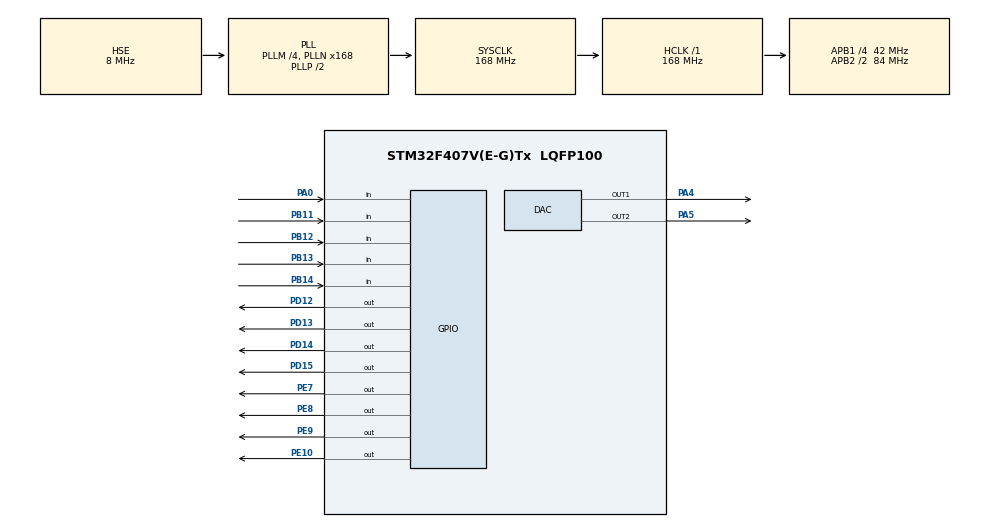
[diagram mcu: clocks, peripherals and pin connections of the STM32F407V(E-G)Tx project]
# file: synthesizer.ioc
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DAC.DAC_Trigger=DAC_TRIGGER_T6_TRGO
DAC.DAC_Trigger2=DAC_TRIGGER_T7_TRGO
Dma.DAC1.0.Direction=DMA_MEMORY_TO_PERIPH
Dma.DAC1.0.FIFOMode=DMA_FIFOMODE_ENABLE
Dma.DAC1.0.FIFOThreshold=DMA_FIFO_THRESHOLD_FULL
Dma.DAC1.0.Instance=DMA1_Stream5
Dma.DAC1.0.MemBurst=DMA_MBURST_SINGLE
Dma.DAC1.0.MemDataAlignment=DMA_MDATAALIGN_WORD
Dma.DAC1.0.MemInc=DMA_MINC_ENABLE
Dma.DAC1.0.Mode=DMA_CIRCULAR
Dma.DAC1.0.PeriphBurst=DMA_PBURST_SINGLE
Dma.DAC1.0.PeriphDataAlignment=DMA_PDATAALIGN_WORD
Dma.DAC1.0.PeriphInc=DMA_PINC_DISABLE
Dma.DAC1.0.Priority=DMA_PRIORITY_LOW
Dma.DAC2.1.Direction=DMA_MEMORY_TO_PERIPH
Dma.DAC2.1.FIFOMode=DMA_FIFOMODE_ENABLE
Dma.DAC2.1.FIFOThreshold=DMA_FIFO_THRESHOLD_FULL
Dma.DAC2.1.Instance=DMA1_Stream6
Dma.DAC2.1.MemBurst=DMA_MBURST_SINGLE
Dma.DAC2.1.MemDataAlignment=DMA_MDATAALIGN_WORD
Dma.DAC2.1.MemInc=DMA_MINC_ENABLE
Dma.DAC2.1.Mode=DMA_CIRCULAR
Dma.DAC2.1.PeriphBurst=DMA_PBURST_SINGLE
Dma.DAC2.1.PeriphDataAlignment=DMA_PDATAALIGN_WORD
Dma.DAC2.1.PeriphInc=DMA_PINC_DISABLE
Dma.DAC2.1.Priority=DMA_PRIORITY_LOW
Dma.Request0=DAC1
Dma.Request1=DAC2
Mcu.Family=STM32F4
Mcu.Name=STM32F407V(E-G)Tx
Mcu.Package=LQFP100
NVIC.DMA1_Stream5_IRQn=true\:0\:0\:false\:false\:true\:false\:true
NVIC.DMA1_Stream6_IRQn=true\:0\:0\:false\:false\:true\:false\:true
NVIC.PriorityGroup=NVIC_PRIORITYGROUP_4
NVIC.TIM4_IRQn=true\:0\:0\:false\:false\:true\:true\:true
NVIC.TIM6_DAC_IRQn=true\:0\:0\:false\:false\:true\:true\:true
NVIC.TIM7_IRQn=true\:0\:0\:false\:false\:true\:true\:true
PA0-WKUP.Signal=GPIO_Input
PA4.Signal=COMP_DAC1_group
PA5.Signal=COMP_DAC2_group
PB11.GPIO_PuPd=GPIO_PULLUP
PB11.Signal=GPIO_Input
PB12.GPIO_PuPd=GPIO_PULLUP
PB12.Signal=GPIO_Input
PB13.GPIO_PuPd=GPIO_PULLUP
PB13.Signal=GPIO_Input
PB14.GPIO_PuPd=GPIO_PULLUP
PB14.Signal=GPIO_Input
PD12.GPIO_PuPd=GPIO_PULLDOWN
PD12.Signal=GPIO_Output
PD13.GPIO_PuPd=GPIO_PULLDOWN
PD13.Signal=GPIO_Output
PD14.GPIO_PuPd=GPIO_PULLDOWN
PD14.Signal=GPIO_Output
PD15.GPIO_PuPd=GPIO_PULLDOWN
PD15.Signal=GPIO_Output
PE10.GPIO_PuPd=GPIO_PULLDOWN
PE10.PinState=GPIO_PIN_SET
PE10.Signal=GPIO_Output
PE7.GPIO_PuPd=GPIO_PULLDOWN
PE7.PinState=GPIO_PIN_SET
PE7.Signal=GPIO_Output
PE8.GPIO_PuPd=GPIO_PULLDOWN
PE8.PinState=GPIO_PIN_SET
PE8.Signal=GPIO_Output
PE9.GPIO_PuPd=GPIO_PULLDOWN
PE9.PinState=GPIO_PIN_SET
PE9.Signal=GPIO_Output
PH0-OSC_IN.Mode=HSE-External-Oscillator
PH0-OSC_IN.Signal=RCC_OSC_IN
PH1-OSC_OUT.Mode=HSE-External-Oscillator
PH1-OSC_OUT.Signal=RCC_OSC_OUT
ProjectManager.HeapSize=0x200
ProjectManager.StackSize=0x400
ProjectManager.TargetToolchain=STM32CubeIDE
RCC.48MHZClocksFreq_Value=84000000
RCC.AHBFreq_Value=168000000
RCC.APB1CLKDivider=RCC_HCLK_DIV4
RCC.APB1Freq_Value=42000000
RCC.APB1TimFreq_Value=84000000
RCC.APB2CLKDivider=RCC_HCLK_DIV2
RCC.APB2Freq_Value=84000000
RCC.APB2TimFreq_Value=168000000
RCC.CortexFreq_Value=168000000
RCC.HCLKFreq_Value=168000000
RCC.HSE_VALUE=8000000
RCC.HSI_VALUE=16000000
RCC.LSE_VALUE=32768
RCC.PLLM=4
RCC.PLLN=168
RCC.PLLSourceVirtual=RCC_PLLSOURCE_HSE
RCC.SYSCLKFreq_VALUE=168000000
RCC.SYSCLKSource=RCC_SYSCLKSOURCE_PLLCLK
RCC.VCOOutputFreq_Value=336000000
SH.COMP_DAC1_group.0=DAC_OUT1,DAC_OUT1
SH.COMP_DAC2_group.0=DAC_OUT2,DAC_OUT2
TIM4.Period=11999
TIM4.Prescaler=6999
TIM6.TIM_MasterOutputTrigger=TIM_TRGO_UPDATE
TIM7.TIM_MasterOutputTrigger=TIM_TRGO_UPDATE
VP_TIM4_VS_ClockSourceINT.Mode=Internal
VP_TIM6_VS_ClockSourceINT.Mode=Enable_Timer
VP_TIM7_VS_ClockSourceINT.Mode=Enable_Timer
board=custom

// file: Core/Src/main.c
/* USER CODE BEGIN Header */
/**
  ******************************************************************************
  * @file           : main.c
  * @brief          : Main program body
  ******************************************************************************
  * @attention
  *
  * <h2><center>&copy; Copyright (c) 2020 STMicroelectronics.
  * All rights reserved.</center></h2>
  *
  * This software component is licensed by ST under BSD 3-Clause license,
  * the "License"; You may not use this file except in compliance with the
  * License. You may obtain a copy of the License at:
  *                        opensource.org/licenses/BSD-3-Clause
  *
  ******************************************************************************
  */
/* USER CODE END Header */

#include "main.h"

/* USER CODE BEGIN Includes */
#include <string.h>
#include <stdio.h>
#include "notes.h"
#include "math.h"
/* USER CODE END Includes */

/* USER CODE BEGIN PD */
#define PI 3.1416f
#define SAMPLING_RATE 200
/* USER CODE END PD */

DAC_HandleTypeDef hdac;
DMA_HandleTypeDef hdma_dac1;
DMA_HandleTypeDef hdma_dac2;

TIM_HandleTypeDef htim4;
TIM_HandleTypeDef htim6;
TIM_HandleTypeDef htim7;

/* USER CODE BEGIN PV */
volatile int tempo = 115;
volatile char *sequence[8] = {"C4 ", "D4 ", "E4 ", "F4 ", "G4 ", "A4 ", "B4 ", "C5 "};
int sequence_iterator = 0;
volatile int delay = 100;
int chosen_wave = 0;
int octave = 4;
int next_octave;
char active_note[3];
char note[2];
char octave_str[1];
char next_octave_str[1];
/* USER CODE END PV */

void SystemClock_Config(void);
static void MX_GPIO_Init(void);
static void MX_DMA_Init(void);
static void MX_DAC_Init(void);
static void MX_TIM6_Init(void);
static void MX_TIM7_Init(void);
static void MX_TIM4_Init(void);

/* USER CODE BEGIN 0 */

void HAL_TIM_PeriodElapsedCallback(TIM_HandleTypeDef* htim){
	if(htim->Instance == TIM4){
//		HAL_GPIO_TogglePin(GPIOD, GPIO_PIN_14);
//		setNote(sequence[sequence_iterator], &htim7);
//		sequence_iterator++;
//		if(sequence_iterator == 8) sequence_iterator = 0;
	}
}

uint32_t sine_val[SAMPLING_RATE];
uint32_t saw_val[SAMPLING_RATE];
uint32_t quad_val[SAMPLING_RATE];

float map(float v, float is, float ie, float os, float oe){
	return os + (oe - os) * ((v - is)/(ie - is));
}

void get_sineval(){
	for(int i = 0; i < SAMPLING_RATE; i++){
		sine_val[i] = ((sin(i*2*PI/SAMPLING_RATE) + 1)*(4096/2));
	}
}

void get_sawval(){
	for(int i = 0; i < SAMPLING_RATE; i++){
		saw_val[i] = map(i, 0, 100, 0, 2)*(4096/2);
	}
}

void get_quadval(){
	for(int i = 0; i < 50; i++){
		quad_val[i] = 4095;
	}
	for(int i = 50; i < 100; i++){
		quad_val[i] = 0;
	}
}

/* USER CODE END 0 */

int main(void)
{
  /* USER CODE BEGIN 1 */
	next_octave = octave + 1;
	sprintf(octave_str, "%d", octave);
	sprintf(next_octave_str, "%d", next_octave);
  /* USER CODE END 1 */

  /* MCU Configuration--------------------------------------------------------*/

  /* Reset of all peripherals, Initializes the Flash interface and the Systick. */
  HAL_Init();

  /* Configure the system clock */
  SystemClock_Config();

  /* Initialize all configured peripherals */
  MX_GPIO_Init();
  MX_DMA_Init();
  MX_DAC_Init();
  MX_TIM6_Init();
  MX_TIM7_Init();
  MX_TIM4_Init();
  /* USER CODE BEGIN 2 */
  HAL_TIM_Base_Start_IT(&htim6);
  HAL_TIM_Base_Start_IT(&htim7);
  HAL_TIM_Base_Start_IT(&htim4);
  get_sineval();
  get_sawval();
  get_quadval();
  HAL_DAC_Start_DMA(&hdac, DAC1_CHANNEL_1, saw_val, SAMPLING_RATE, DAC_ALIGN_12B_R);
  HAL_DAC_Start_DMA(&hdac, DAC1_CHANNEL_2, quad_val, SAMPLING_RATE, DAC_ALIGN_12B_R);
  /* USER CODE END 2 */

  /* Infinite loop */
  while (1)
  {

    /* USER CODE BEGIN 3 */
	  HAL_GPIO_WritePin(GPIOE, GPIO_PIN_7, GPIO_PIN_RESET);
	  HAL_GPIO_WritePin(GPIOE, GPIO_PIN_8, GPIO_PIN_SET);
	  HAL_GPIO_WritePin(GPIOE, GPIO_PIN_9, GPIO_PIN_SET);
	  HAL_GPIO_WritePin(GPIOE, GPIO_PIN_10, GPIO_PIN_SET);
	  if (!(HAL_GPIO_ReadPin(GPIOB, GPIO_PIN_11))){
		HAL_Delay(delay);
		if(!(HAL_GPIO_ReadPin (GPIOB, GPIO_PIN_11))){
			HAL_GPIO_TogglePin(GPIOD, GPIO_PIN_15);
			strcpy(active_note, "");
			strcat(active_note, "C");
			strcat(active_note, octave_str);
			strcat(active_note, " ");
			setNote(active_note, &htim6);
		}
	  }

	  if (!(HAL_GPIO_ReadPin(GPIOB, GPIO_PIN_12))){
		HAL_Delay(delay);
		if(!(HAL_GPIO_ReadPin (GPIOB, GPIO_PIN_12))){
			HAL_GPIO_TogglePin(GPIOD, GPIO_PIN_15);
			strcpy(active_note, "");
			strcat(active_note, "CS");
			strcat(active_note, octave_str);
			setNote(active_note, &htim6);
		}
	  }

	  if (!(HAL_GPIO_ReadPin(GPIOB, GPIO_PIN_13))){
		HAL_Delay(delay);
		if(!(HAL_GPIO_ReadPin(GPIOB, GPIO_PIN_13))){
			HAL_GPIO_TogglePin(GPIOD, GPIO_PIN_15);
			strcpy(active_note, "");
			strcat(active_note, "D");
			strcat(active_note, octave_str);
			strcat(active_note, " ");
			setNote(active_note, &htim6);
		}
	  }

	  if (!(HAL_GPIO_ReadPin(GPIOB, GPIO_PIN_14))){
		HAL_Delay(delay);
		if(!(HAL_GPIO_ReadPin(GPIOB, GPIO_PIN_14))){
			HAL_GPIO_TogglePin(GPIOD, GPIO_PIN_15);
			strcpy(active_note, "");
			strcat(active_note, "DS");
			strcat(active_note, octave_str);
			setNote(active_note, &htim6);
		}
	  }
	  HAL_GPIO_WritePin(GPIOE, GPIO_PIN_7, GPIO_PIN_SET);
	  HAL_GPIO_WritePin(GPIOE, GPIO_PIN_8, GPIO_PIN_RESET);
	  HAL_GPIO_WritePin(GPIOE, GPIO_PIN_9, GPIO_PIN_SET);
	  HAL_GPIO_WritePin(GPIOE, GPIO_PIN_10, GPIO_PIN_SET);
	  if (!(HAL_GPIO_ReadPin(GPIOB, GPIO_PIN_11))){
		HAL_Delay(delay);
		if(!(HAL_GPIO_ReadPin(GPIOB, GPIO_PIN_11))){
			HAL_GPIO_TogglePin(GPIOD, GPIO_PIN_15);
			strcpy(active_note, "");
			strcat(active_note, "E");
			strcat(active_note, octave_str);
			strcat(active_note, " ");
			setNote(active_note, &htim6);
		}
	  }

	  if (!(HAL_GPIO_ReadPin(GPIOB, GPIO_PIN_12))){
		HAL_Delay(delay);
		if(!(HAL_GPIO_ReadPin(GPIOB, GPIO_PIN_12))){
			HAL_GPIO_TogglePin(GPIOD, GPIO_PIN_15);
			strcpy(active_note, "");
			strcat(active_note, "F");
			strcat(active_note, octave_str);
			strcat(active_note, " ");
			setNote(active_note, &htim6);
		}
	  }

	  if (!(HAL_GPIO_ReadPin(GPIOB, GPIO_PIN_13))){
		HAL_Delay(delay);
		if(!(HAL_GPIO_ReadPin(GPIOB, GPIO_PIN_13))){
			HAL_GPIO_TogglePin(GPIOD, GPIO_PIN_15);
			strcpy(active_note, "");
			strcat(active_note, "FS");
			strcat(active_note, octave_str);
			setNote(active_note, &htim6);
		}
	  }

	  if (!(HAL_GPIO_ReadPin(GPIOB, GPIO_PIN_14))){
		HAL_Delay(delay);
		if(!(HAL_GPIO_ReadPin(GPIOB, GPIO_PIN_14))){
			HAL_GPIO_TogglePin(GPIOD, GPIO_PIN_15);
			strcpy(active_note, "");
			strcat(active_note, "G");
			strcat(active_note, octave_str);
			strcat(active_note, " ");
			setNote(active_note, &htim6);
		}
	  }
	  HAL_GPIO_WritePin(GPIOE, GPIO_PIN_7, GPIO_PIN_SET);
	  HAL_GPIO_WritePin(GPIOE, GPIO_PIN_8, GPIO_PIN_SET);
	  HAL_GPIO_WritePin(GPIOE, GPIO_PIN_9, GPIO_PIN_RESET);
	  HAL_GPIO_WritePin(GPIOE, GPIO_PIN_10, GPIO_PIN_SET);
	  if (!(HAL_GPIO_ReadPin(GPIOB, GPIO_PIN_11))){
		HAL_Delay(delay);
		if(!(HAL_GPIO_ReadPin(GPIOB, GPIO_PIN_11))){
			HAL_GPIO_TogglePin(GPIOD, GPIO_PIN_15);
			strcpy(active_note, "");
			strcat(active_note, "GS");
			strcat(active_note, octave_str);
			setNote(active_note, &htim6);
		}
	  }

	  if (!(HAL_GPIO_ReadPin(GPIOB, GPIO_PIN_12))){
		HAL_Delay(delay);
		if(!(HAL_GPIO_ReadPin(GPIOB, GPIO_PIN_12))){
			HAL_GPIO_TogglePin(GPIOD, GPIO_PIN_15);
			strcpy(active_note, "");
			strcat(active_note, "A");
			strcat(active_note, octave_str);
			strcat(active_note, " ");
			setNote(active_note, &htim6);
		}
	  }

	  if (!(HAL_GPIO_ReadPin(GPIOB, GPIO_PIN_13))){
		HAL_Delay(delay);
		if(!(HAL_GPIO_ReadPin(GPIOB, GPIO_PIN_13))){
			HAL_GPIO_TogglePin(GPIOD, GPIO_PIN_15);
			strcpy(active_note, "");
			strcat(active_note, "AS");
			strcat(active_note, octave_str);
		  	setNote(active_note, &htim6);
		}
	  }

	  if (!(HAL_GPIO_ReadPin(GPIOB, GPIO_PIN_14))){
		HAL_Delay(delay);
		if(!(HAL_GPIO_ReadPin(GPIOB, GPIO_PIN_14))){
		HAL_GPIO_TogglePin(GPIOD, GPIO_PIN_15);
			strcpy(active_note, "");
			strcat(active_note, "B");
			strcat(active_note, octave_str);
			strcat(active_note, " ");
			setNote(active_note, &htim6);
		}
	  }
	  HAL_GPIO_WritePin(GPIOE, GPIO_PIN_7, GPIO_PIN_SET);
	  HAL_GPIO_WritePin(GPIOE, GPIO_PIN_8, GPIO_PIN_SET);
	  HAL_GPIO_WritePin(GPIOE, GPIO_PIN_9, GPIO_PIN_SET);
	  HAL_GPIO_WritePin(GPIOE, GPIO_PIN_10, GPIO_PIN_RESET);
	  if (!(HAL_GPIO_ReadPin(GPIOB, GPIO_PIN_11))){
		HAL_Delay(delay);
		if(!(HAL_GPIO_ReadPin(GPIOB, GPIO_PIN_11))){
			strcpy(active_note, "");
			strcat(active_note, "C");
			strcat(active_note, next_octave_str);
			strcat(active_note, " ");
		  	setNote(active_note, &htim6);
		}
	  }

	  if (!(HAL_GPIO_ReadPin(GPIOB, GPIO_PIN_12))){
		HAL_Delay(delay);
		if(!(HAL_GPIO_ReadPin(GPIOB, GPIO_PIN_12))){
			HAL_GPIO_TogglePin(GPIOD, GPIO_PIN_12);
			if(chosen_wave == 0){
				HAL_DAC_Stop_DMA(&hdac, DAC_CHANNEL_1);
				HAL_DAC_Start_DMA(&hdac, DAC_CHANNEL_1, sine_val, SAMPLING_RATE, DAC_ALIGN_12B_R);
				chosen_wave += 1;
			}else if(chosen_wave == 1){
				HAL_DAC_Stop_DMA(&hdac, DAC_CHANNEL_1);
				HAL_DAC_Start_DMA(&hdac, DAC_CHANNEL_1, saw_val, SAMPLING_RATE, DAC_ALIGN_12B_R);
				chosen_wave += 1;
			}else if(chosen_wave == 2){
				HAL_DAC_Stop_DMA(&hdac, DAC_CHANNEL_1);
				HAL_DAC_Start_DMA(&hdac, DAC_CHANNEL_1, quad_val, SAMPLING_RATE, DAC_ALIGN_12B_R);
				chosen_wave = 0;
			}
		}
	  }

	  if (!(HAL_GPIO_ReadPin(GPIOB, GPIO_PIN_13))){
		HAL_Delay(delay);
		if(!(HAL_GPIO_ReadPin(GPIOB, GPIO_PIN_13))){
			if(octave > 2){
				octave -= 1;
				next_octave = octave + 1;
				sprintf(octave_str, "%d", octave);
				sprintf(next_octave_str, "%d", next_octave);
				if(active_note[1] == 'S'){
					active_note[2] = octave_str;
				}else{
					if(active_note[0] == 'C'){
						if(active_note[1] != next_octave_str){
							active_note[1] = next_octave_str;
						}else{
							active_note[1] = octave_str;
						}
					}else{
						active_note[1] = octave_str;
					}
				}
				setNote(active_note, &htim6);
			}
		}
	  }

	  if (!(HAL_GPIO_ReadPin(GPIOB, GPIO_PIN_14))){
		HAL_Delay(delay);
	  	if(!(HAL_GPIO_ReadPin(GPIOB, GPIO_PIN_14))){
			HAL_GPIO_TogglePin(GPIOD, GPIO_PIN_14);
			if(octave < 6){
				octave += 1;
				next_octave = octave + 1;
				sprintf(octave_str, "%d", octave);
				sprintf(next_octave_str, "%d", next_octave);
				if(active_note[1] == 'S'){
					active_note[2] = octave_str;
				}else{
					if(active_note[0] == 'C'){
						if(active_note[1] != next_octave_str){
							active_note[1] = next_octave_str;
						}else{
							active_note[1] = octave_str;
						}
					}else{
						active_note[1] = octave_str;
					}
				}
				setNote(active_note, &htim6);
			}
	  	}
	  }
  }
  /* USER CODE END 3 */
}

void SystemClock_Config(void)
{
  RCC_OscInitTypeDef RCC_OscInitStruct = {0};
  RCC_ClkInitTypeDef RCC_ClkInitStruct = {0};

  /** Configure the main internal regulator output voltage
  */
  __HAL_RCC_PWR_CLK_ENABLE();
  __HAL_PWR_VOLTAGESCALING_CONFIG(PWR_REGULATOR_VOLTAGE_SCALE1);
  /** Initializes the CPU, AHB and APB busses clocks
  */
  RCC_OscInitStruct.OscillatorType = RCC_OSCILLATORTYPE_HSE;
  RCC_OscInitStruct.HSEState = RCC_HSE_ON;
  RCC_OscInitStruct.PLL.PLLState = RCC_PLL_ON;
  RCC_OscInitStruct.PLL.PLLSource = RCC_PLLSOURCE_HSE;
  RCC_OscInitStruct.PLL.PLLM = 4;
  RCC_OscInitStruct.PLL.PLLN = 168;
  RCC_OscInitStruct.PLL.PLLP = RCC_PLLP_DIV2;
  RCC_OscInitStruct.PLL.PLLQ = 4;
  if (HAL_RCC_OscConfig(&RCC_OscInitStruct) != HAL_OK)
  {
    Error_Handler();
  }
  /** Initializes the CPU, AHB and APB busses clocks
  */
  RCC_ClkInitStruct.ClockType = RCC_CLOCKTYPE_HCLK|RCC_CLOCKTYPE_SYSCLK
                              |RCC_CLOCKTYPE_PCLK1|RCC_CLOCKTYPE_PCLK2;
  RCC_ClkInitStruct.SYSCLKSource = RCC_SYSCLKSOURCE_PLLCLK;
  RCC_ClkInitStruct.AHBCLKDivider = RCC_SYSCLK_DIV1;
  RCC_ClkInitStruct.APB1CLKDivider = RCC_HCLK_DIV4;
  RCC_ClkInitStruct.APB2CLKDivider = RCC_HCLK_DIV2;

  if (HAL_RCC_ClockConfig(&RCC_ClkInitStruct, FLASH_LATENCY_5) != HAL_OK)
  {
    Error_Handler();
  }
}

static void MX_DAC_Init(void)
{

  DAC_ChannelConfTypeDef sConfig = {0};

  /** DAC Initialization
  */
  hdac.Instance = DAC;
  if (HAL_DAC_Init(&hdac) != HAL_OK)
  {
    Error_Handler();
  }
  /** DAC channel OUT1 config
  */
  sConfig.DAC_Trigger = DAC_TRIGGER_T6_TRGO;
  sConfig.DAC_OutputBuffer = DAC_OUTPUTBUFFER_ENABLE;
  if (HAL_DAC_ConfigChannel(&hdac, &sConfig, DAC_CHANNEL_1) != HAL_OK)
  {
    Error_Handler();
  }
  /** DAC channel OUT2 config
  */
  sConfig.DAC_Trigger = DAC_TRIGGER_T7_TRGO;
  if (HAL_DAC_ConfigChannel(&hdac, &sConfig, DAC_CHANNEL_2) != HAL_OK)
  {
    Error_Handler();
  }

}

static void MX_TIM4_Init(void)
{

  TIM_ClockConfigTypeDef sClockSourceConfig = {0};
  TIM_MasterConfigTypeDef sMasterConfig = {0};

  htim4.Instance = TIM4;
  htim4.Init.Prescaler = 6999;
  htim4.Init.CounterMode = TIM_COUNTERMODE_UP;
  htim4.Init.Period = 11999;
  htim4.Init.ClockDivision = TIM_CLOCKDIVISION_DIV1;
  htim4.Init.AutoReloadPreload = TIM_AUTORELOAD_PRELOAD_DISABLE;
  if (HAL_TIM_Base_Init(&htim4) != HAL_OK)
  {
    Error_Handler();
  }
  sClockSourceConfig.ClockSource = TIM_CLOCKSOURCE_INTERNAL;
  if (HAL_TIM_ConfigClockSource(&htim4, &sClockSourceConfig) != HAL_OK)
  {
    Error_Handler();
  }
  sMasterConfig.MasterOutputTrigger = TIM_TRGO_RESET;
  sMasterConfig.MasterSlaveMode = TIM_MASTERSLAVEMODE_DISABLE;
  if (HAL_TIMEx_MasterConfigSynchronization(&htim4, &sMasterConfig) != HAL_OK)
  {
    Error_Handler();
  }

}

static void MX_TIM6_Init(void)
{

  TIM_MasterConfigTypeDef sMasterConfig = {0};

  htim6.Instance = TIM6;
  htim6.Init.Prescaler = 0;
  htim6.Init.CounterMode = TIM_COUNTERMODE_UP;
  htim6.Init.Period = 0;
  htim6.Init.AutoReloadPreload = TIM_AUTORELOAD_PRELOAD_DISABLE;
  if (HAL_TIM_Base_Init(&htim6) != HAL_OK)
  {
    Error_Handler();
  }
  sMasterConfig.MasterOutputTrigger = TIM_TRGO_UPDATE;
  sMasterConfig.MasterSlaveMode = TIM_MASTERSLAVEMODE_DISABLE;
  if (HAL_TIMEx_MasterConfigSynchronization(&htim6, &sMasterConfig) != HAL_OK)
  {
    Error_Handler();
  }

}

static void MX_TIM7_Init(void)
{

  TIM_MasterConfigTypeDef sMasterConfig = {0};

  htim7.Instance = TIM7;
  htim7.Init.Prescaler = 0;
  htim7.Init.CounterMode = TIM_COUNTERMODE_UP;
  htim7.Init.Period = 0;
  htim7.Init.AutoReloadPreload = TIM_AUTORELOAD_PRELOAD_DISABLE;
  if (HAL_TIM_Base_Init(&htim7) != HAL_OK)
  {
    Error_Handler();
  }
  sMasterConfig.MasterOutputTrigger = TIM_TRGO_UPDATE;
  sMasterConfig.MasterSlaveMode = TIM_MASTERSLAVEMODE_DISABLE;
  if (HAL_TIMEx_MasterConfigSynchronization(&htim7, &sMasterConfig) != HAL_OK)
  {
    Error_Handler();
  }

}

static void MX_DMA_Init(void)
{

  /* DMA controller clock enable */
  __HAL_RCC_DMA1_CLK_ENABLE();

  /* DMA interrupt init */
  /* DMA1_Stream5_IRQn interrupt configuration */
  HAL_NVIC_SetPriority(DMA1_Stream5_IRQn, 0, 0);
  HAL_NVIC_EnableIRQ(DMA1_Stream5_IRQn);
  /* DMA1_Stream6_IRQn interrupt configuration */
  HAL_NVIC_SetPriority(DMA1_Stream6_IRQn, 0, 0);
  HAL_NVIC_EnableIRQ(DMA1_Stream6_IRQn);

}

static void MX_GPIO_Init(void)
{
  GPIO_InitTypeDef GPIO_InitStruct = {0};

  /* GPIO Ports Clock Enable */
  __HAL_RCC_GPIOH_CLK_ENABLE();
  __HAL_RCC_GPIOA_CLK_ENABLE();
  __HAL_RCC_GPIOE_CLK_ENABLE();
  __HAL_RCC_GPIOB_CLK_ENABLE();
  __HAL_RCC_GPIOD_CLK_ENABLE();

  /*Configure GPIO pin Output Level */
  HAL_GPIO_WritePin(GPIOE, GPIO_PIN_7|GPIO_PIN_8|GPIO_PIN_9|GPIO_PIN_10, GPIO_PIN_SET);

  /*Configure GPIO pin Output Level */
  HAL_GPIO_WritePin(GPIOD, GPIO_PIN_12|GPIO_PIN_13|GPIO_PIN_14|GPIO_PIN_15, GPIO_PIN_RESET);

  /*Configure GPIO pin : PA0 */
  GPIO_InitStruct.Pin = GPIO_PIN_0;
  GPIO_InitStruct.Mode = GPIO_MODE_INPUT;
  GPIO_InitStruct.Pull = GPIO_NOPULL;
  HAL_GPIO_Init(GPIOA, &GPIO_InitStruct);

  /*Configure GPIO pins : PE7 PE8 PE9 PE10 */
  GPIO_InitStruct.Pin = GPIO_PIN_7|GPIO_PIN_8|GPIO_PIN_9|GPIO_PIN_10;
  GPIO_InitStruct.Mode = GPIO_MODE_OUTPUT_PP;
  GPIO_InitStruct.Pull = GPIO_PULLDOWN;
  GPIO_InitStruct.Speed = GPIO_SPEED_FREQ_LOW;
  HAL_GPIO_Init(GPIOE, &GPIO_InitStruct);

  /*Configure GPIO pins : PB11 PB12 PB13 PB14 */
  GPIO_InitStruct.Pin = GPIO_PIN_11|GPIO_PIN_12|GPIO_PIN_13|GPIO_PIN_14;
  GPIO_InitStruct.Mode = GPIO_MODE_INPUT;
  GPIO_InitStruct.Pull = GPIO_PULLUP;
  HAL_GPIO_Init(GPIOB, &GPIO_InitStruct);

  /*Configure GPIO pins : PD12 PD13 PD14 PD15 */
  GPIO_InitStruct.Pin = GPIO_PIN_12|GPIO_PIN_13|GPIO_PIN_14|GPIO_PIN_15;
  GPIO_InitStruct.Mode = GPIO_MODE_OUTPUT_PP;
  GPIO_InitStruct.Pull = GPIO_PULLDOWN;
  GPIO_InitStruct.Speed = GPIO_SPEED_FREQ_LOW;
  HAL_GPIO_Init(GPIOD, &GPIO_InitStruct);

}

void Error_Handler(void)
{
}

/************************ (C) COPYRIGHT STMicroelectronics *****END OF FILE****/
